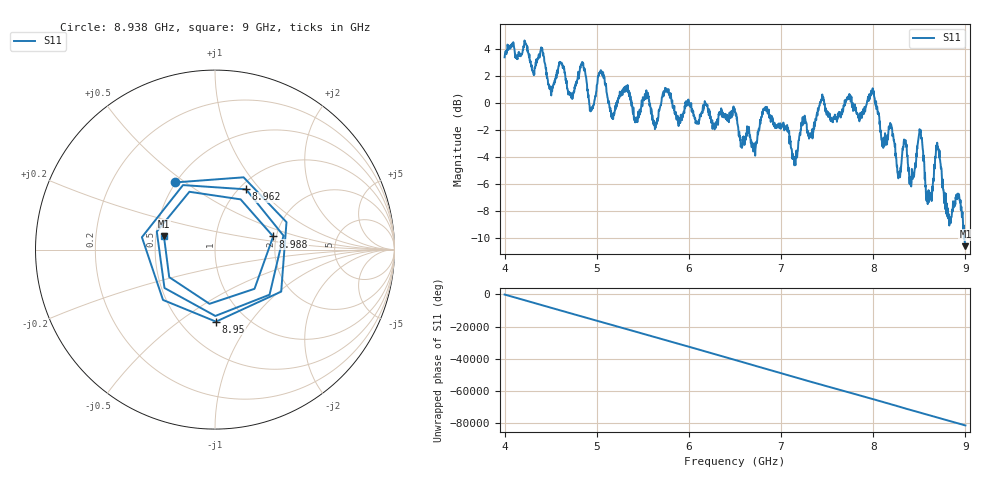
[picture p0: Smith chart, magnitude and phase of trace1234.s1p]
! Created with skrf 1.8.0 (http://scikit-rf.org).
# Hz S RI R 50.0
!freq ReS11 ImS11
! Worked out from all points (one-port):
!   1601 points, 4 GHz to 9 GHz, reference 50 ohm
!   lowest |S11| = -10.6 dB at 9 GHz (marker M1), VSWR 1.84, Z = 27.6 + j4.59 ohm
!   |S11| at or under -10 dB: 8.98383 GHz to 8.984463 GHz (632.6 kHz wide, 0.00704 % of centre); 8.990157 GHz to end of sweep
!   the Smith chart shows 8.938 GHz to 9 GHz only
!   S11 on the Smith chart (normalised r, x): 8.938 GHz: 0.50, +0.46; 8.95 GHz: 0.73, -0.70; 8.962 GHz: 1.08, +0.84; 8.988 GHz: 1.93, +0.32; 9 GHz: 0.55, +0.09
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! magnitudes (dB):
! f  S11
! 4 GHz  3.4
! 4.625 GHz  2.9
! 4.716 GHz  0.7
! 4.85 GHz  2.9
! 4.944 GHz  -0.5
! 5.044 GHz  2.4
! 5.162 GHz  -1.0
! 5.25 GHz  0.9
! 5.875 GHz  -1.2
! 6.5 GHz  -0.7
! 6.703 GHz  -3.3
! 6.841 GHz  -0.4
! 7.125 GHz  -3.7
! 7.441 GHz  0.2
! 7.75 GHz  0.4
! 7.991 GHz  1.0
! 8.275 GHz  -5.4
! 8.375 GHz  -4.5
! 8.419 GHz  -4.9
! 8.509 GHz  -2.0
! 8.597 GHz  -7.4
! 8.697 GHz  -3.3
! 8.816 GHz  -8.6
! 8.938 GHz  -7.2
! 8.95 GHz  -7.9
! 8.962 GHz  -8.5
! 8.988 GHz  -9.6
! 9 GHz  -10.6
